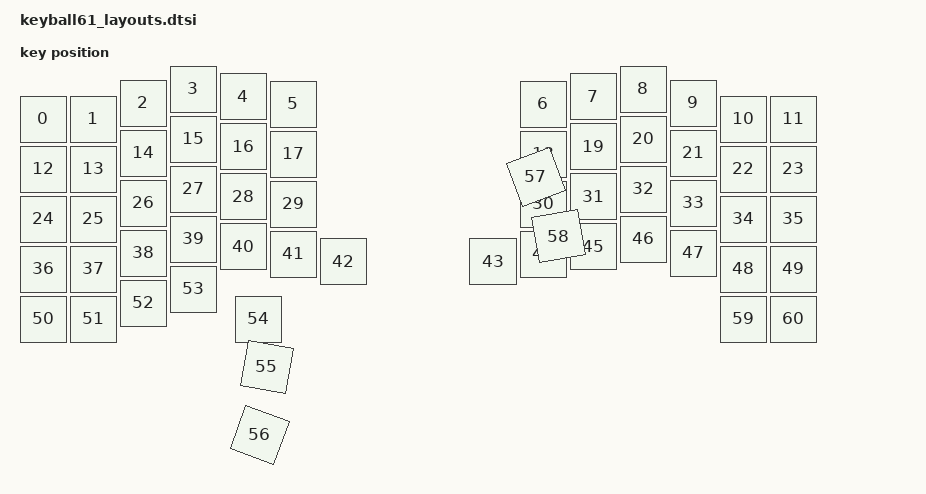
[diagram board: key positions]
#include <physical_layouts.dtsi>

/ {
    physical_layout0: physical_layout_0 {
        compatible = "zmk,physical-layout";
        display-name = "Default";

        keys  //                     w   h    x    y     rot    rx    ry
            = <&key_physical_attrs 100 100    0   60       0     0     0>
            , <&key_physical_attrs 100 100  100   60       0     0     0>
            , <&key_physical_attrs 100 100  200   28       0     0     0>
            , <&key_physical_attrs 100 100  300    0       0     0     0>
            , <&key_physical_attrs 100 100  400   15       0     0     0>
            , <&key_physical_attrs 100 100  500   30       0     0     0>
            , <&key_physical_attrs 100 100 1000   30       0     0     0>
            , <&key_physical_attrs 100 100 1100   15       0     0     0>
            , <&key_physical_attrs 100 100 1200    0       0     0     0>
            , <&key_physical_attrs 100 100 1300   28       0     0     0>
            , <&key_physical_attrs 100 100 1400   60       0     0     0>
            , <&key_physical_attrs 100 100 1500   60       0     0     0>
            , <&key_physical_attrs 100 100    0  160       0     0     0>
            , <&key_physical_attrs 100 100  100  160       0     0     0>
            , <&key_physical_attrs 100 100  200  128       0     0     0>
            , <&key_physical_attrs 100 100  300  100       0     0     0>
            , <&key_physical_attrs 100 100  400  115       0     0     0>
            , <&key_physical_attrs 100 100  500  130       0     0     0>
            , <&key_physical_attrs 100 100 1000  130       0     0     0>
            , <&key_physical_attrs 100 100 1100  115       0     0     0>
            , <&key_physical_attrs 100 100 1200  100       0     0     0>
            , <&key_physical_attrs 100 100 1300  128       0     0     0>
            , <&key_physical_attrs 100 100 1400  160       0     0     0>
            , <&key_physical_attrs 100 100 1500  160       0     0     0>
            , <&key_physical_attrs 100 100    0  260       0     0     0>
            , <&key_physical_attrs 100 100  100  260       0     0     0>
            , <&key_physical_attrs 100 100  200  228       0     0     0>
            , <&key_physical_attrs 100 100  300  200       0     0     0>
            , <&key_physical_attrs 100 100  400  215       0     0     0>
            , <&key_physical_attrs 100 100  500  230       0     0     0>
            , <&key_physical_attrs 100 100 1000  230       0     0     0>
            , <&key_physical_attrs 100 100 1100  215       0     0     0>
            , <&key_physical_attrs 100 100 1200  200       0     0     0>
            , <&key_physical_attrs 100 100 1300  228       0     0     0>
            , <&key_physical_attrs 100 100 1400  260       0     0     0>
            , <&key_physical_attrs 100 100 1500  260       0     0     0>
            , <&key_physical_attrs 100 100    0  360       0     0     0>
            , <&key_physical_attrs 100 100  100  360       0     0     0>
            , <&key_physical_attrs 100 100  200  328       0     0     0>
            , <&key_physical_attrs 100 100  300  300       0     0     0>
            , <&key_physical_attrs 100 100  400  315       0     0     0>
            , <&key_physical_attrs 100 100  500  330       0     0     0>
            , <&key_physical_attrs 100 100  600  345       0     0     0>
            , <&key_physical_attrs 100 100  900  345       0     0     0>
            , <&key_physical_attrs 100 100 1000  330       0     0     0>
            , <&key_physical_attrs 100 100 1100  315       0     0     0>
            , <&key_physical_attrs 100 100 1200  300       0     0     0>
            , <&key_physical_attrs 100 100 1300  328       0     0     0>
            , <&key_physical_attrs 100 100 1400  360       0     0     0>
            , <&key_physical_attrs 100 100 1500  360       0     0     0>
            , <&key_physical_attrs 100 100    0  460       0     0     0>
            , <&key_physical_attrs 100 100  100  460       0     0     0>
            , <&key_physical_attrs 100 100  200  428       0     0     0>
            , <&key_physical_attrs 100 100  300  400       0     0     0>
            , <&key_physical_attrs 100 100  430  460       0     0     0>
            , <&key_physical_attrs 100 100  545  460    1000     0     0>
            , <&key_physical_attrs 100 100  658  482    2000     0     0>
            , <&key_physical_attrs 100 100  846  517 (-2000)     0     0>
            , <&key_physical_attrs 100 100  955  477 (-1000)     0     0>
            , <&key_physical_attrs 100 100 1400  460       0     0     0>
            , <&key_physical_attrs 100 100 1500  460       0     0     0>
            ;
    };
};
